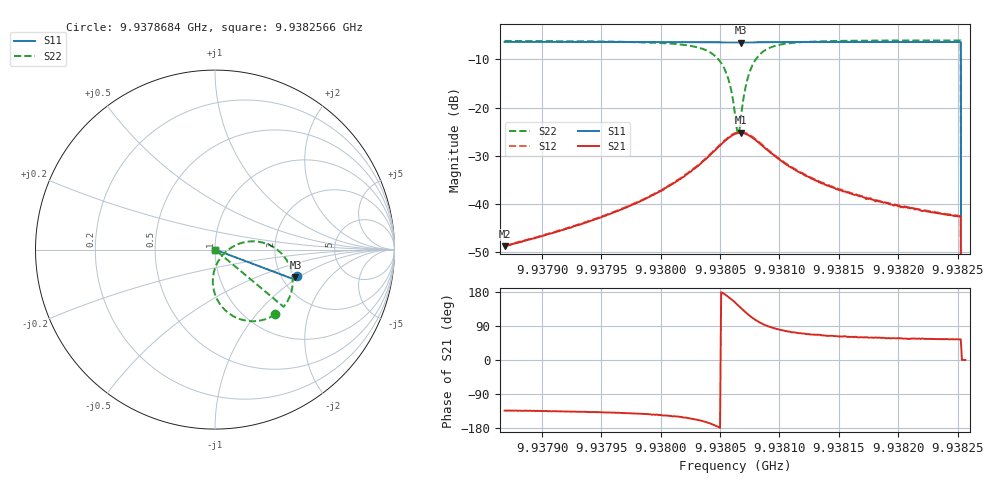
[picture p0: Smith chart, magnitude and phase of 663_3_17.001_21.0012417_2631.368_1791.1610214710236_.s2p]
#  HZ  S  RI  R  50.00
! Rohde & Schwarz Vector Network Analyzer
! Rohde-Schwarz,ZNB20-2Port,1311601062101988,3.16
! Created: UTC 3/20/2024, 11:21:51 PM
! freq[Hz]  re:S11  im:S11  re:S21  im:S21  re:S12  im:S12  re:S22  im:S22
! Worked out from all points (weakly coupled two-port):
!   401 points, 9.9378684 GHz to 9.9382566 GHz, reference 50 ohm
!   highest |S21| = -25.25 dB at 9.9380674 GHz (marker M1); lowest = -48.8 dB at 9.9378684 GHz (marker M2)
!   lowest |S11| = -6.5 dB at 9.9380674 GHz (marker M3), VSWR 2.80, Z = 118 - j47 ohm
!   |S11| at or under -10 dB: 9.9382528 GHz to end of sweep
!   |S22| runs from - to -6.1 dB; largest |S21 - S12| = 0.0017
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9.93786842e9  0.4585 -0.1454  -0.00249 -0.00263  -0.00259 -0.00263  0.336 -0.3605
9.93793345e9  0.4568 -0.1501  -0.00449 -0.00423  -0.00461 -0.00424  0.3143 -0.3737
9.93799847e9  0.4544 -0.1549  -0.0109 -0.00752  -0.0112 -0.00765  0.255 -0.3946
9.93802953e9  0.4523 -0.1572  -0.022 -0.0093  -0.0222 -0.00925  0.1631 -0.3943
9.93804603e9  0.4501 -0.1581  -0.0359 -0.00432  -0.0367 -0.00406  0.0556 -0.3367
9.93805185e9  0.449 -0.1578  -0.0424 0.002  -0.0433 0.00232  0.012 -0.2776
9.93805573e9  0.4483 -0.1573  -0.046 0.00878  -0.0468 0.00924  -0.00798 -0.2186
9.93805961e9  0.4479 -0.1567  -0.0478 0.0175  -0.0486 0.0186  -0.00983 -0.1445
9.93806253e9  0.4476 -0.156  -0.0469 0.0251  -0.0476 0.0261  0.00728 -0.0851
9.93806447e9  0.4477 -0.1554  -0.0449 0.03  -0.0456 0.0312  0.0296 -0.0468
9.93806544e9  0.4478 -0.1551  -0.0437 0.0324  -0.0442 0.0339  0.0436 -0.0292
9.93806738e9  0.4479 -0.1547  -0.0404 0.0367  -0.0408 0.0381  0.0759 0.00084
9.93807029e9  0.4486 -0.154  -0.034 0.0419  -0.0341 0.0432  0.1344 0.0326
9.9380732e9  0.4492 -0.1539  -0.0268 0.0448  -0.0269 0.0462  0.1962 0.0456
9.93807708e9  0.4501 -0.1537  -0.0178 0.0451  -0.0175 0.0468  0.2708 0.0376
9.93808291e9  0.4514 -0.1542  -0.00742 0.0422  -0.00659 0.0432  0.3511 -0.00394
9.93809844e9  0.4527 -0.1564  0.0045 0.0294  0.00525 0.0299  0.4272 -0.1249
9.93812755e9  0.4525 -0.1599  0.00706 0.0168  0.00751 0.0169  0.4263 -0.2316
9.93819258e9  0.4507 -0.1649  0.00534 0.00835  0.00545 0.00841  0.3972 -0.2981
9.93825081e9  0.449 -0.1688  0.00429 0.00602  0.00447 0.00605  0.3829 -0.3185
9.93825566e9  0 0  0 0  0 0  0 0
9.93825663e9  0 0  0 0  0 0  0 0
